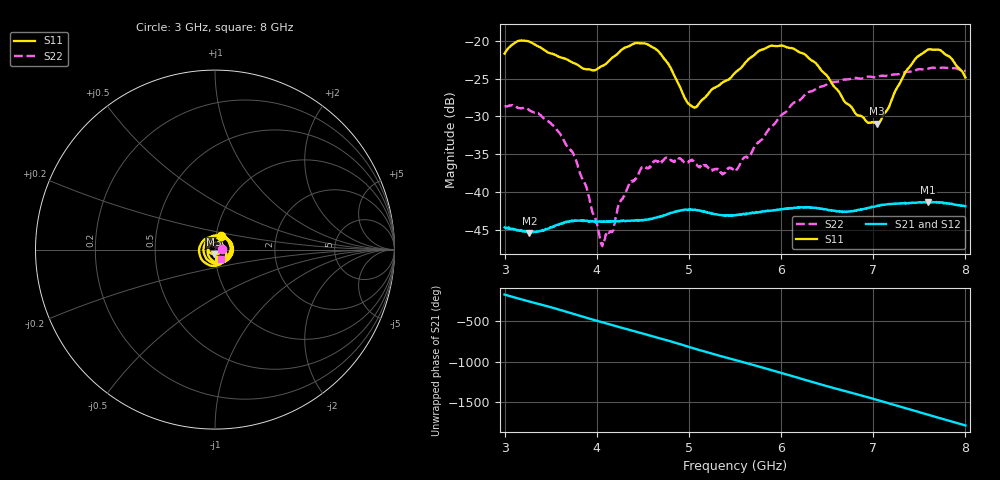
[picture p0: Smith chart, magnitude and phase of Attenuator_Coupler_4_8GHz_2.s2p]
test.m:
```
clc
clear all
close all
% figure;
% hold on;
% before using this file to characterize your PA, please make sure you have
% biased your amplifier and turn the power supplies ON. To minimize the
% possibility of damaging your device, we only take measurements from the 
% DC power supplies. We do not turn the power supplies ON or OFF.
%%
% single-ended or doherty amplifier measurement
is_doherty = 1;

% frequency settings 
f_start =4e9;
f_stop = 4.1e9;
f_step = 0.1e9;

% desired characterization power range (in dBm) at the output of the driver
p_c_start = 40;
p_c_stop = 21;
p_c_step = -1; % coarse step

p_f_start = 20;
p_f_stop = 15;
p_f_step = -1; % fine step

% it is important to set the signal generator's maximum allowable input to
% avoid damaging the driver and PA during the automatic sweep
% ESG_Add = num2str(19);
% ESG_max_power = 0;
SG = SignalGenerator_E8267D(19,0);

% create the power meter
PM = PowerMeter_N1911A(15);

% create the driver 
DR = Driver('driver_data_2015-02-23-18-57');


% create the output coupler/attenuator
ATN=Attenuator('Attenuator_Coupler_4_8GHz_2.s2p');
% ATN=Attenuator('Attenuator_WilkAeroflex_33dB_Oct31.s2p');

% create the main power supply
% PS_m_Add = num2str(5); % GPIB address for the main power source
PS_m = PowerSupply_F3643A(6);
PS_m_chan = 1; % channel to measure from

% create the auxiliary power supply
if(is_doherty)
%     PS_a_Add = num2str(6); % GPIB address for the aux power source
    PS_a = PowerSupply_F3643A(5);
end

% connect to the instruments
SG.connect;
PM.connect;
PS_m.connect;
if(is_doherty)
    PS_a.connect;
end

% preset the signal generator and power meter 
SG.preset;
PM.preset;

f_points = 1+(f_stop-f_start)/f_step;
p_c_points = 1+(p_c_stop-p_c_start)/p_c_step;
p_f_points = 1+(p_f_stop-p_f_start)/p_f_step;

% pre-allocate memory for the data
data(1:f_points) = struct( 'frequency', 0, 'table', zeros(p_c_points+p_f_points,10));

for freq=f_start:f_step:f_stop
    f_idx = 1+(freq-f_start)/f_step;
    fprintf('Frequency is %g Hz (%d of %d)\n', freq, f_idx, f_points);
    SG.frequency(freq);
    PM.frequency(freq);
    PM.offset(ATN.attenuation(freq));
    fprintf('Attenuation at %g Hz is %g dB\n', freq, ATN.attenuation(freq));
    PM.offset(0);
    PM.zero_and_cal;
        
    data(f_idx).frequency = freq;   
    
    % coarse power sweep
    for p_in=p_c_start:p_c_step:p_c_stop
        p_idx = 1+(p_in-p_c_start)/p_c_step;                
        
        p_sg = DR.sg_power_for(freq, p_in);
        SG.power(p_sg);
        p_sg = SG.power; % read what the actual signal generator power is
        fprintf('SG power is %02.2f \n', p_sg);
        fprintf('p_in is %02.2f \n', p_in);
                
        SG.rf(1); % measurement start       
        V_m = PS_m.voltage;
        I_m = PS_m.current;
        if(is_doherty)
            V_a = PS_a.voltage;
            I_a = PS_a.current;
        end
        p_out = PM.measure;
        SG.rf(0); % measurement end
        
        fprintf('P_out is %2.4f \n', p_out);
        fprintf('I_m is %2.4f \n', I_m);
        
        if(is_doherty)
            fprintf('I_a is %2.4f \n', I_a);                        
        else
            V_a = 0;
            I_a = 0;
        end

        gain = p_out-p_in;
        fprintf('Gain is %2.4f \n', gain);
        p_out_w = 10^((p_out-30)/10); % p_out in Watts
        p_in_w = 10^((p_in-30)/10); % p_in in Watts
        p_dc = (V_m*I_m+V_a*I_a);
        DE = 100*p_out_w/p_dc;
        fprintf('DE is %3.2f\n', DE);
        fprintf('---------------\n');
        PAE = 100*(p_out_w - p_in_w)/p_dc;
        
        
        % create the data table
        data(f_idx).table(p_idx,1) = p_sg;     % signal generator power level
        data(f_idx).table(p_idx,2) = p_in;  % PA_in (a.k.a Driver_out)
        data(f_idx).table(p_idx,3) = p_out; % PA_out
        data(f_idx).table(p_idx,4) = gain;     % gain
        data(f_idx).table(p_idx,5) = V_m;      % main voltage
        data(f_idx).table(p_idx,6) = I_m;      % main current
        data(f_idx).table(p_idx,7) = V_a;      % auxiliary voltage
        data(f_idx).table(p_idx,8) = I_a;      % auxiliary current
        data(f_idx).table(p_idx,9) = PAE;      % PAE
        data(f_idx).table(p_idx,10) = DE;      % drain efficiency    
        %pause(2);
    end
    
    
    % fine power sweep
    for p_in=p_f_start:p_f_step:p_f_stop
        p_idx = 1+(p_in-p_f_start)/p_f_step + p_c_points; % index accounts for coarse data points
        
        p_sg = DR.sg_power_for(freq, p_in);
        SG.power(p_sg);
        p_sg = SG.power; % read what the actual signal generator power is
        fprintf('SG power is %02.2f \n', p_sg);
        fprintf('p_in is %02.2f \n', p_in);
                
        SG.rf(1); % measurement start       
        V_m = PS_m.voltage;
        I_m = PS_m.current;
        if(is_doherty)
            V_a = PS_a.voltage;
            I_a = PS_a.current;
        end
        p_out = PM.measure;
        SG.rf(0); % measurement end
        
        fprintf('p_out is %2.4f \n', p_out);
        fprintf('I_m is %2.4f \n', I_m);
        
        if(is_doherty)
            fprintf('I_a is %2.4f \n', I_a);                        
        else
            V_a = 0;
            I_a = 0;
        end

        gain = p_out-p_in;
        fprintf('Gain is %2.4f \n', gain);
        p_out_w = 10^((p_out-30)/10); % p_out in Watts
        p_in_w = 10^((p_in-30)/10); % p_in in Watts
        p_dc = (V_m*I_m+V_a*I_a);
        DE = 100*p_out_w/p_dc;
        fprintf('DE is %3.2f\n', DE); 
        fprintf('---------------\n');
        PAE = 100*(p_out_w - p_in_w)/p_dc;
        
        
        % create the data table
        data(f_idx).table(p_idx,1) = p_sg;     % signal generator power level
        data(f_idx).table(p_idx,2) = p_in;  % PA_in (a.k.a Driver_out)
        data(f_idx).table(p_idx,3) = p_out; % PA_out
        data(f_idx).table(p_idx,4) = gain;     % gain
        data(f_idx).table(p_idx,5) = V_m;      % main voltage
        data(f_idx).table(p_idx,6) = I_m;      % main current
        data(f_idx).table(p_idx,7) = V_a;      % auxiliary voltage
        data(f_idx).table(p_idx,8) = I_a;      % auxiliary current
        data(f_idx).table(p_idx,9) = PAE;      % PAE
        data(f_idx).table(p_idx,10) = DE;      % drain efficiency       
        %pause(2);
    end
end
i_m = data(f_idx).table(:,6);
pin = data(f_idx).table(:,2);
vin = 10.^((pin-30)/20);
figure; plot(data(f_idx).table(:,3),data(f_idx).table(:,10))
figure; plot(data(f_idx).table(:,3),data(f_idx).table(:,4))
figure; plot(vin,i_m)
% hold off;
data_file_name = [ 'PA_data_' datestr(now,'yyyy-mm-dd-HH-MM' )];
save(data_file_name, 'data');


% PS_m=PowerSupply_N6705A(2);
% PS_a=PowerSupply_N5770A(5);
% 
% PS_m=PowerSupply_F3643A(6);
% PS_a=PowerSupply_F3643A(5);
% 
% PS_m.connect;
% PS_a.connect;
```
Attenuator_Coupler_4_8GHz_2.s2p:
!Keysight Technologies,N5247A,US56070658,Z.10.62.16
!Date: Tuesday, August 15, 2017 17:07:40
!Correction: S11(Full 2 Port(1,2))
!S21(Full 2 Port(1,2))
!S12(Full 2 Port(1,2))
!S22(Full 2 Port(1,2))
!S2P File: Measurements: S11, S21, S12, S22:
# Hz S  dB  R 50
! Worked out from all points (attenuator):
!   1001 points, 3 GHz to 8 GHz, reference 50 ohm
!   highest |S21| = -41.29 dB at 7.595 GHz (marker M1); lowest = -45.4 dB at 3.27 GHz (marker M2)
!   lowest |S11| = -31.0 dB at 7.04 GHz (marker M3), VSWR 1.06, Z = 49.1 - j2.67 ohm
!   |S11| at or under -10 dB: start of sweep to end of sweep
!   |S22| runs from -47.1 to -23.5 dB; largest |S21 - S12| = 0.00013
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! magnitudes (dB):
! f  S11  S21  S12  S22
! 3 GHz  -21.7  -44.7  -44.7  -28.7
! 3.27 GHz  -20.1  -45.4  -45.3  -29.2
! 3.745 GHz  -22.9  -43.9  -43.7  -34.9
! 4.06 GHz  -23.3  -43.9  -43.9  -47.1
! 4.5 GHz  -20.4  -43.7  -43.7  -36.7
! 5.05 GHz  -28.8  -42.3  -42.3  -35.9
! 5.5 GHz  -24.2  -43.1  -43.0  -37.2
! 6.13 GHz  -21.0  -42.1  -42.1  -28.3
! 7.04 GHz  -31.0  -41.8  -41.8  -24.8
! 7.595 GHz  -21.2  -41.3  -41.3  -23.7
! 8 GHz  -24.9  -41.9  -41.9  -24.0
